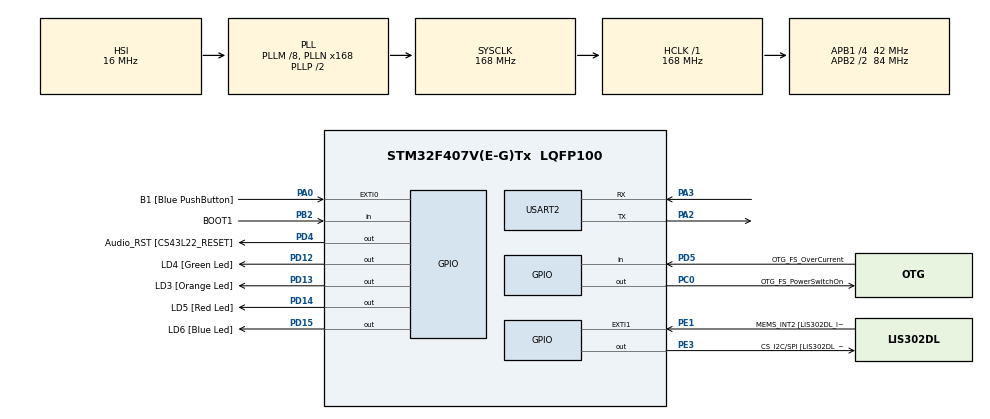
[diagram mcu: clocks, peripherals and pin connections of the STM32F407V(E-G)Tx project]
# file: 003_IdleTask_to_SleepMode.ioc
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Mcu.Family=STM32F4
Mcu.Name=STM32F407V(E-G)Tx
Mcu.Package=LQFP100
NVIC.PriorityGroup=NVIC_PRIORITYGROUP_4
NVIC.TIM6_DAC_IRQn=true\:15\:0\:false\:false\:true\:false\:true\:true
NVIC.TimeBase=TIM6_DAC_IRQn
NVIC.TimeBaseIP=TIM6
PA0-WKUP.GPIO_Label=B1 [Blue PushButton]
PA0-WKUP.Signal=GPXTI0
PA10.GPIO_Label=OTG_FS_ID
PA10.GPIO_Mode=GPIO_MODE_AF_PP
PA10.GPIO_PuPd=GPIO_NOPULL
PA10.GPIO_Speed=GPIO_SPEED_FREQ_LOW
PA10.Signal=USB_OTG_FS_ID
PA11.GPIO_Label=OTG_FS_DM
PA11.GPIO_Mode=GPIO_MODE_AF_PP
PA11.GPIO_PuPd=GPIO_NOPULL
PA11.GPIO_Speed=GPIO_SPEED_FREQ_LOW
PA11.Signal=USB_OTG_FS_DM
PA12.GPIO_Label=OTG_FS_DP
PA12.GPIO_Mode=GPIO_MODE_AF_PP
PA12.GPIO_PuPd=GPIO_NOPULL
PA12.GPIO_Speed=GPIO_SPEED_FREQ_LOW
PA12.Signal=USB_OTG_FS_DP
PA13.GPIO_Label=SWDIO
PA13.Signal=SYS_JTMS-SWDIO
PA14.GPIO_Label=SWCLK
PA14.Signal=SYS_JTCK-SWCLK
PA2.Mode=Asynchronous
PA2.Signal=USART2_TX
PA3.Mode=Asynchronous
PA3.Signal=USART2_RX
PA4.GPIO_Label=I2S3_WS [CS43L22_LRCK]
PA4.GPIO_Mode=GPIO_MODE_AF_PP
PA4.GPIO_PuPd=GPIO_NOPULL
PA4.GPIO_Speed=GPIO_SPEED_FREQ_LOW
PA4.Signal=I2S3_WS
PA5.GPIO_Label=SPI1_SCK [LIS302DL_SCL/SPC]
PA5.GPIO_Mode=GPIO_MODE_AF_PP
PA5.GPIO_PuPd=GPIO_NOPULL
PA5.GPIO_Speed=GPIO_SPEED_FREQ_LOW
PA5.Signal=SPI1_SCK
PA6.GPIO_Label=SPI1_MISO [LIS302DL_SDO]
PA6.GPIO_Mode=GPIO_MODE_AF_PP
PA6.GPIO_PuPd=GPIO_NOPULL
PA6.GPIO_Speed=GPIO_SPEED_FREQ_LOW
PA6.Signal=SPI1_MISO
PA7.GPIO_Label=SPI1_MOSI [LIS302DL_SDA/SDI/SDO]
PA7.GPIO_Mode=GPIO_MODE_AF_PP
PA7.GPIO_PuPd=GPIO_NOPULL
PA7.GPIO_Speed=GPIO_SPEED_FREQ_LOW
PA7.Signal=SPI1_MOSI
PA9.GPIO_Label=VBUS_FS
PA9.GPIO_Mode=GPIO_MODE_INPUT
PA9.GPIO_PuPd=GPIO_NOPULL
PA9.Signal=USB_OTG_FS_VBUS
PB10.GPIO_Label=CLK_IN [MP45DT02_CLK]
PB10.GPIO_Mode=GPIO_MODE_AF_PP
PB10.GPIO_PuPd=GPIO_NOPULL
PB10.GPIO_Speed=GPIO_SPEED_FREQ_LOW
PB10.Signal=I2S2_CK
PB2.GPIO_Label=BOOT1
PB2.GPIO_Mode=GPIO_MODE_INPUT
PB2.GPIO_PuPd=GPIO_NOPULL
PB2.Signal=GPIO_Input
PB3.GPIO_Label=SWO
PB3.Signal=SYS_JTDO-SWO
PB6.GPIO_Label=Audio_SCL [CS43L22_SCL]
PB6.GPIO_Mode=GPIO_MODE_AF_OD
PB6.GPIO_PuPd=GPIO_NOPULL
PB6.GPIO_Speed=GPIO_SPEED_FREQ_LOW
PB6.Signal=I2C1_SCL
PB9.GPIO_Label=Audio_SDA [CS43L22_SDA]
PB9.GPIO_Mode=GPIO_MODE_AF_OD
PB9.GPIO_PuPd=GPIO_NOPULL
PB9.GPIO_Speed=GPIO_SPEED_FREQ_LOW
PB9.Signal=I2C1_SDA
PC0.GPIO_Label=OTG_FS_PowerSwitchOn
PC0.GPIO_PuPd=GPIO_NOPULL
PC0.GPIO_Speed=GPIO_SPEED_FREQ_LOW
PC0.PinState=GPIO_PIN_SET
PC0.Signal=GPIO_Output
PC10.GPIO_Label=I2S3_SCK [CS43L22_SCLK]
PC10.GPIO_Mode=GPIO_MODE_AF_PP
PC10.GPIO_PuPd=GPIO_NOPULL
PC10.GPIO_Speed=GPIO_SPEED_FREQ_LOW
PC10.Signal=I2S3_CK
PC12.GPIO_Label=I2S3_SD [CS43L22_SDIN]
PC12.GPIO_Mode=GPIO_MODE_AF_PP
PC12.GPIO_PuPd=GPIO_NOPULL
PC12.GPIO_Speed=GPIO_SPEED_FREQ_LOW
PC12.Signal=I2S3_SD
PC14-OSC32_IN.GPIO_Label=PC14-OSC32_IN
PC14-OSC32_IN.Signal=RCC_OSC32_IN
PC15-OSC32_OUT.GPIO_Label=PC15-OSC32_OUT
PC15-OSC32_OUT.Signal=RCC_OSC32_OUT
PC3.GPIO_Label=PDM_OUT [MP45DT02_DOUT]
PC3.GPIO_Mode=GPIO_MODE_AF_PP
PC3.GPIO_PuPd=GPIO_NOPULL
PC3.GPIO_Speed=GPIO_SPEED_FREQ_LOW
PC3.Signal=I2S2_SD
PC7.GPIO_Label=I2S3_MCK [CS43L22_MCLK]
PC7.GPIO_Mode=GPIO_MODE_AF_PP
PC7.GPIO_PuPd=GPIO_NOPULL
PC7.GPIO_Speed=GPIO_SPEED_FREQ_LOW
PC7.Signal=I2S3_MCK
PD12.GPIO_Label=LD4 [Green Led]
PD12.GPIO_PuPd=GPIO_NOPULL
PD12.GPIO_Speed=GPIO_SPEED_FREQ_LOW
PD12.Signal=GPIO_Output
PD13.GPIO_Label=LD3 [Orange Led]
PD13.GPIO_PuPd=GPIO_NOPULL
PD13.GPIO_Speed=GPIO_SPEED_FREQ_LOW
PD13.Signal=GPIO_Output
PD14.GPIO_Label=LD5 [Red Led]
PD14.GPIO_PuPd=GPIO_NOPULL
PD14.GPIO_Speed=GPIO_SPEED_FREQ_LOW
PD14.Signal=GPIO_Output
PD15.GPIO_Label=LD6 [Blue Led]
PD15.GPIO_PuPd=GPIO_NOPULL
PD15.GPIO_Speed=GPIO_SPEED_FREQ_LOW
PD15.Signal=GPIO_Output
PD4.GPIO_Label=Audio_RST [CS43L22_RESET]
PD4.GPIO_PuPd=GPIO_NOPULL
PD4.GPIO_Speed=GPIO_SPEED_FREQ_LOW
PD4.Signal=GPIO_Output
PD5.GPIO_Label=OTG_FS_OverCurrent
PD5.GPIO_Mode=GPIO_MODE_INPUT
PD5.GPIO_PuPd=GPIO_NOPULL
PD5.Signal=GPIO_Input
PE1.GPIO_Label=MEMS_INT2 [LIS302DL_INT2]
PE1.GPIO_ModeDefaultEXTI=GPIO_MODE_EVT_RISING
PE1.GPIO_PuPd=GPIO_NOPULL
PE1.Signal=GPXTI1
PE3.GPIO_Label=CS_I2C/SPI [LIS302DL_CS_I2C/SPI]
PE3.GPIO_PuPd=GPIO_NOPULL
PE3.GPIO_Speed=GPIO_SPEED_FREQ_LOW
PE3.Signal=GPIO_Output
PH0-OSC_IN.GPIO_Label=PH0-OSC_IN
PH0-OSC_IN.Signal=RCC_OSC_IN
PH1-OSC_OUT.GPIO_Label=PH1-OSC_OUT
PH1-OSC_OUT.Signal=RCC_OSC_OUT
ProjectManager.HeapSize=0x200
ProjectManager.StackSize=0x400
ProjectManager.TargetToolchain=STM32CubeIDE
RCC.48MHZClocksFreq_Value=48000000
RCC.AHBFreq_Value=168000000
RCC.APB1CLKDivider=RCC_HCLK_DIV4
RCC.APB1Freq_Value=42000000
RCC.APB1TimFreq_Value=84000000
RCC.APB2CLKDivider=RCC_HCLK_DIV2
RCC.APB2Freq_Value=84000000
RCC.APB2TimFreq_Value=168000000
RCC.CortexFreq_Value=168000000
RCC.HCLKFreq_Value=168000000
RCC.HSE_VALUE=8000000
RCC.HSI_VALUE=16000000
RCC.LSE_VALUE=32768
RCC.PLLM=8
RCC.PLLN=168
RCC.PLLQ=7
RCC.SYSCLKFreq_VALUE=168000000
RCC.SYSCLKSource=RCC_SYSCLKSOURCE_PLLCLK
RCC.VCOOutputFreq_Value=336000000
USART2.VirtualMode=VM_ASYNC
VP_SYS_VS_tim6.Mode=TIM6
board=STM32F407G-DISC1

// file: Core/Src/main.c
/* USER CODE BEGIN Header */
/**
  ******************************************************************************
  * @file           : main.c
  * @brief          : Main program body
  ******************************************************************************
  * @attention
  *
  * Copyright (c) 2025 STMicroelectronics.
  * All rights reserved.
  *
  * This software is licensed under terms that can be found in the LICENSE file
  * in the root directory of this software component.
  * If no LICENSE file comes with this software, it is provided AS-IS.
  *
  ******************************************************************************
  */
/* USER CODE END Header */
#include "main.h"

/* USER CODE BEGIN Includes */
	#include<stdio.h>
	#include"FreeRTOS.h"
	#include"task.h"

/* USER CODE END Includes */

UART_HandleTypeDef huart2;

/* USER CODE BEGIN PV */
#define DWT_CTRL  (*(volatile uint32_t*)0xE0001000)

/* USER CODE END PV */

void SystemClock_Config(void);
static void MX_GPIO_Init(void);
static void MX_USART2_UART_Init(void);
/* USER CODE BEGIN PFP */
static void task1_handler(void* parameters);
static void task2_handler(void* parameters);
static void task3_handler(void* parameters);

extern void SEGGER_UART_init(uint32_t);

/* USER CODE END PFP */

int main(void)
{

  /* USER CODE BEGIN 1 */
	TaskHandle_t task1_handle;
	TaskHandle_t task2_handle;
	TaskHandle_t task3_handle;

	BaseType_t status;

  /* USER CODE END 1 */

  /* MCU Configuration--------------------------------------------------------*/

  /* Reset of all peripherals, Initializes the Flash interface and the Systick. */
  HAL_Init();

  /* Configure the system clock */
  SystemClock_Config();

  /* Initialize all configured peripherals */
  MX_GPIO_Init();
  MX_USART2_UART_Init();
  /* USER CODE BEGIN 2 */

  SEGGER_UART_init(500000);

  //Enable the CYCCNT counter
     DWT_CTRL |= (1<<0);

    SEGGER_SYSVIEW_Conf();

   // SEGGER_SYSVIEW_Start();

  	status=xTaskCreate(task1_handler,"Task-1",200,"Hello world from Task-1",2,&task1_handle);
  	configASSERT(status == pdPASS);

  	status=xTaskCreate(task2_handler,"Task-2",200,"Hello world from Task-2",2,&task2_handle);
  	configASSERT(status == pdPASS);

  	status=xTaskCreate(task3_handler,"Task-3",200,"Hello world from Task-3",2,&task3_handle);
  	configASSERT(status == pdPASS);

  	//start the freeRTOS scheduler
  	vTaskStartScheduler();

  /* USER CODE END 2 */

  /* Infinite loop */
  while (1)
  {

  }
}

void SystemClock_Config(void)
{
  RCC_OscInitTypeDef RCC_OscInitStruct = {0};
  RCC_ClkInitTypeDef RCC_ClkInitStruct = {0};

  /** Configure the main internal regulator output voltage
  */
  __HAL_RCC_PWR_CLK_ENABLE();
  __HAL_PWR_VOLTAGESCALING_CONFIG(PWR_REGULATOR_VOLTAGE_SCALE1);

  /** Initializes the RCC Oscillators according to the specified parameters
  * in the RCC_OscInitTypeDef structure.
  */
  RCC_OscInitStruct.OscillatorType = RCC_OSCILLATORTYPE_HSI;
  RCC_OscInitStruct.HSIState = RCC_HSI_ON;
  RCC_OscInitStruct.HSICalibrationValue = RCC_HSICALIBRATION_DEFAULT;
  RCC_OscInitStruct.PLL.PLLState = RCC_PLL_ON;
  RCC_OscInitStruct.PLL.PLLSource = RCC_PLLSOURCE_HSI;
  RCC_OscInitStruct.PLL.PLLM = 8;
  RCC_OscInitStruct.PLL.PLLN = 168;
  RCC_OscInitStruct.PLL.PLLP = RCC_PLLP_DIV2;
  RCC_OscInitStruct.PLL.PLLQ = 7;
  if (HAL_RCC_OscConfig(&RCC_OscInitStruct) != HAL_OK)
  {
    Error_Handler();
  }

  /** Initializes the CPU, AHB and APB buses clocks
  */
  RCC_ClkInitStruct.ClockType = RCC_CLOCKTYPE_HCLK|RCC_CLOCKTYPE_SYSCLK
                              |RCC_CLOCKTYPE_PCLK1|RCC_CLOCKTYPE_PCLK2;
  RCC_ClkInitStruct.SYSCLKSource = RCC_SYSCLKSOURCE_PLLCLK;
  RCC_ClkInitStruct.AHBCLKDivider = RCC_SYSCLK_DIV1;
  RCC_ClkInitStruct.APB1CLKDivider = RCC_HCLK_DIV4;
  RCC_ClkInitStruct.APB2CLKDivider = RCC_HCLK_DIV2;

  if (HAL_RCC_ClockConfig(&RCC_ClkInitStruct, FLASH_LATENCY_5) != HAL_OK)
  {
    Error_Handler();
  }
}

static void MX_USART2_UART_Init(void)
{

  huart2.Instance = USART2;
  huart2.Init.BaudRate = 115200;
  huart2.Init.WordLength = UART_WORDLENGTH_8B;
  huart2.Init.StopBits = UART_STOPBITS_1;
  huart2.Init.Parity = UART_PARITY_NONE;
  huart2.Init.Mode = UART_MODE_TX_RX;
  huart2.Init.HwFlowCtl = UART_HWCONTROL_NONE;
  huart2.Init.OverSampling = UART_OVERSAMPLING_16;
  if (HAL_UART_Init(&huart2) != HAL_OK)
  {
    Error_Handler();
  }

}

static void MX_GPIO_Init(void)
{
  GPIO_InitTypeDef GPIO_InitStruct = {0};

  /* GPIO Ports Clock Enable */
  __HAL_RCC_GPIOE_CLK_ENABLE();
  __HAL_RCC_GPIOC_CLK_ENABLE();
  __HAL_RCC_GPIOH_CLK_ENABLE();
  __HAL_RCC_GPIOA_CLK_ENABLE();
  __HAL_RCC_GPIOB_CLK_ENABLE();
  __HAL_RCC_GPIOD_CLK_ENABLE();

  /*Configure GPIO pin Output Level */
  HAL_GPIO_WritePin(CS_I2C_SPI_GPIO_Port, CS_I2C_SPI_Pin, GPIO_PIN_RESET);

  /*Configure GPIO pin Output Level */
  HAL_GPIO_WritePin(OTG_FS_PowerSwitchOn_GPIO_Port, OTG_FS_PowerSwitchOn_Pin, GPIO_PIN_SET);

  /*Configure GPIO pin Output Level */
  HAL_GPIO_WritePin(GPIOD, LD4_Pin|LD3_Pin|LD5_Pin|LD6_Pin
                          |Audio_RST_Pin, GPIO_PIN_RESET);

  /*Configure GPIO pin : CS_I2C_SPI_Pin */
  GPIO_InitStruct.Pin = CS_I2C_SPI_Pin;
  GPIO_InitStruct.Mode = GPIO_MODE_OUTPUT_PP;
  GPIO_InitStruct.Pull = GPIO_NOPULL;
  GPIO_InitStruct.Speed = GPIO_SPEED_FREQ_LOW;
  HAL_GPIO_Init(CS_I2C_SPI_GPIO_Port, &GPIO_InitStruct);

  /*Configure GPIO pin : OTG_FS_PowerSwitchOn_Pin */
  GPIO_InitStruct.Pin = OTG_FS_PowerSwitchOn_Pin;
  GPIO_InitStruct.Mode = GPIO_MODE_OUTPUT_PP;
  GPIO_InitStruct.Pull = GPIO_NOPULL;
  GPIO_InitStruct.Speed = GPIO_SPEED_FREQ_LOW;
  HAL_GPIO_Init(OTG_FS_PowerSwitchOn_GPIO_Port, &GPIO_InitStruct);

  /*Configure GPIO pin : PDM_OUT_Pin */
  GPIO_InitStruct.Pin = PDM_OUT_Pin;
  GPIO_InitStruct.Mode = GPIO_MODE_AF_PP;
  GPIO_InitStruct.Pull = GPIO_NOPULL;
  GPIO_InitStruct.Speed = GPIO_SPEED_FREQ_LOW;
  GPIO_InitStruct.Alternate = GPIO_AF5_SPI2;
  HAL_GPIO_Init(PDM_OUT_GPIO_Port, &GPIO_InitStruct);

  /*Configure GPIO pin : B1_Pin */
  GPIO_InitStruct.Pin = B1_Pin;
  GPIO_InitStruct.Mode = GPIO_MODE_IT_RISING;
  GPIO_InitStruct.Pull = GPIO_NOPULL;
  HAL_GPIO_Init(B1_GPIO_Port, &GPIO_InitStruct);

  /*Configure GPIO pin : I2S3_WS_Pin */
  GPIO_InitStruct.Pin = I2S3_WS_Pin;
  GPIO_InitStruct.Mode = GPIO_MODE_AF_PP;
  GPIO_InitStruct.Pull = GPIO_NOPULL;
  GPIO_InitStruct.Speed = GPIO_SPEED_FREQ_LOW;
  GPIO_InitStruct.Alternate = GPIO_AF6_SPI3;
  HAL_GPIO_Init(I2S3_WS_GPIO_Port, &GPIO_InitStruct);

  /*Configure GPIO pins : SPI1_SCK_Pin SPI1_MISO_Pin SPI1_MOSI_Pin */
  GPIO_InitStruct.Pin = SPI1_SCK_Pin|SPI1_MISO_Pin|SPI1_MOSI_Pin;
  GPIO_InitStruct.Mode = GPIO_MODE_AF_PP;
  GPIO_InitStruct.Pull = GPIO_NOPULL;
  GPIO_InitStruct.Speed = GPIO_SPEED_FREQ_LOW;
  GPIO_InitStruct.Alternate = GPIO_AF5_SPI1;
  HAL_GPIO_Init(GPIOA, &GPIO_InitStruct);

  /*Configure GPIO pin : BOOT1_Pin */
  GPIO_InitStruct.Pin = BOOT1_Pin;
  GPIO_InitStruct.Mode = GPIO_MODE_INPUT;
  GPIO_InitStruct.Pull = GPIO_NOPULL;
  HAL_GPIO_Init(BOOT1_GPIO_Port, &GPIO_InitStruct);

  /*Configure GPIO pin : CLK_IN_Pin */
  GPIO_InitStruct.Pin = CLK_IN_Pin;
  GPIO_InitStruct.Mode = GPIO_MODE_AF_PP;
  GPIO_InitStruct.Pull = GPIO_NOPULL;
  GPIO_InitStruct.Speed = GPIO_SPEED_FREQ_LOW;
  GPIO_InitStruct.Alternate = GPIO_AF5_SPI2;
  HAL_GPIO_Init(CLK_IN_GPIO_Port, &GPIO_InitStruct);

  /*Configure GPIO pins : LD4_Pin LD3_Pin LD5_Pin LD6_Pin
                           Audio_RST_Pin */
  GPIO_InitStruct.Pin = LD4_Pin|LD3_Pin|LD5_Pin|LD6_Pin
                          |Audio_RST_Pin;
  GPIO_InitStruct.Mode = GPIO_MODE_OUTPUT_PP;
  GPIO_InitStruct.Pull = GPIO_NOPULL;
  GPIO_InitStruct.Speed = GPIO_SPEED_FREQ_LOW;
  HAL_GPIO_Init(GPIOD, &GPIO_InitStruct);

  /*Configure GPIO pins : I2S3_MCK_Pin I2S3_SCK_Pin I2S3_SD_Pin */
  GPIO_InitStruct.Pin = I2S3_MCK_Pin|I2S3_SCK_Pin|I2S3_SD_Pin;
  GPIO_InitStruct.Mode = GPIO_MODE_AF_PP;
  GPIO_InitStruct.Pull = GPIO_NOPULL;
  GPIO_InitStruct.Speed = GPIO_SPEED_FREQ_LOW;
  GPIO_InitStruct.Alternate = GPIO_AF6_SPI3;
  HAL_GPIO_Init(GPIOC, &GPIO_InitStruct);

  /*Configure GPIO pin : VBUS_FS_Pin */
  GPIO_InitStruct.Pin = VBUS_FS_Pin;
  GPIO_InitStruct.Mode = GPIO_MODE_INPUT;
  GPIO_InitStruct.Pull = GPIO_NOPULL;
  HAL_GPIO_Init(VBUS_FS_GPIO_Port, &GPIO_InitStruct);

  /*Configure GPIO pins : OTG_FS_ID_Pin OTG_FS_DM_Pin OTG_FS_DP_Pin */
  GPIO_InitStruct.Pin = OTG_FS_ID_Pin|OTG_FS_DM_Pin|OTG_FS_DP_Pin;
  GPIO_InitStruct.Mode = GPIO_MODE_AF_PP;
  GPIO_InitStruct.Pull = GPIO_NOPULL;
  GPIO_InitStruct.Speed = GPIO_SPEED_FREQ_LOW;
  GPIO_InitStruct.Alternate = GPIO_AF10_OTG_FS;
  HAL_GPIO_Init(GPIOA, &GPIO_InitStruct);

  /*Configure GPIO pin : OTG_FS_OverCurrent_Pin */
  GPIO_InitStruct.Pin = OTG_FS_OverCurrent_Pin;
  GPIO_InitStruct.Mode = GPIO_MODE_INPUT;
  GPIO_InitStruct.Pull = GPIO_NOPULL;
  HAL_GPIO_Init(OTG_FS_OverCurrent_GPIO_Port, &GPIO_InitStruct);

  /*Configure GPIO pins : Audio_SCL_Pin Audio_SDA_Pin */
  GPIO_InitStruct.Pin = Audio_SCL_Pin|Audio_SDA_Pin;
  GPIO_InitStruct.Mode = GPIO_MODE_AF_OD;
  GPIO_InitStruct.Pull = GPIO_NOPULL;
  GPIO_InitStruct.Speed = GPIO_SPEED_FREQ_LOW;
  GPIO_InitStruct.Alternate = GPIO_AF4_I2C1;
  HAL_GPIO_Init(GPIOB, &GPIO_InitStruct);

  /*Configure GPIO pin : MEMS_INT2_Pin */
  GPIO_InitStruct.Pin = MEMS_INT2_Pin;
  GPIO_InitStruct.Mode = GPIO_MODE_EVT_RISING;
  GPIO_InitStruct.Pull = GPIO_NOPULL;
  HAL_GPIO_Init(MEMS_INT2_GPIO_Port, &GPIO_InitStruct);

}

/* USER CODE BEGIN 4 */
static void task1_handler(void* parameters)
{

	while(1)
	{

		SEGGER_SYSVIEW_PrintfTarget("Toggling green led");
		HAL_GPIO_TogglePin(GPIOD, LED_GREEN_PIN);
		vTaskDelay(pdMS_TO_TICKS(1000));

	}

}

static void task2_handler(void* parameters)
{

	while(1)
	{

		SEGGER_SYSVIEW_PrintfTarget("Toggling orange led");
		HAL_GPIO_TogglePin(GPIOD, LED_ORANGE_PIN);
		vTaskDelay(pdMS_TO_TICKS(800));

	}

}

static void task3_handler(void* parameters)
{

	while(1)
	{

		SEGGER_SYSVIEW_PrintfTarget("Toggling red led");
		HAL_GPIO_TogglePin(GPIOD, LED_RED_PIN);
		vTaskDelay(pdMS_TO_TICKS(400));

	}

}
/* USER CODE END 4 */

void HAL_TIM_PeriodElapsedCallback(TIM_HandleTypeDef *htim)
{
  if (htim->Instance == TIM6) {
    HAL_IncTick();
  }
}

void vApplicationIdleHook(void)
{
	//WFI stops clock to processor but peripherals are running
	//untill one of the following takes place
	/*
	 * IRQ interrupt
	 * FIQ interrupt
	 * A debug entry request made to the processor
	 */

	HAL_PWR_EnterSLEEPMode(PWR_MAINREGULATOR_ON,PWR_SLEEPENTRY_WFI);

}

void Error_Handler(void)
{
  __disable_irq();
  while (1)
  {
  }
}
